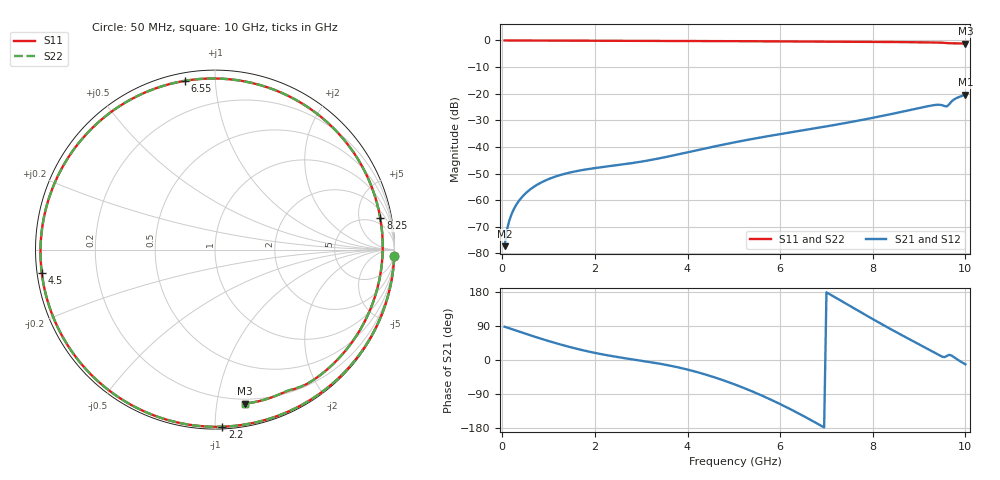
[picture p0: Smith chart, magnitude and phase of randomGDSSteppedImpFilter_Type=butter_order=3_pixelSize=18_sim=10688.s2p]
! freq	dB(S11)	phase(S11)	dB(S12)	phase(S12)
!  dB(S21)	phase(S21)	dB(S22)	phase(S22)
!S-par simulation data
#  GHz  S  DB  R 50
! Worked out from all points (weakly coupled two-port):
!   200 points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, 50 MHz to 10 GHz, reference 50 ohm
!   highest |S21| = -20.36 dB at 10 GHz (marker M1); lowest = -77.3 dB at 50 MHz (marker M2)
!   lowest |S11| = -1.2 dB at 10 GHz (marker M3), VSWR 14.91, Z = 8.21 - j59.8 ohm
!   |S11| at or under -10 dB: nowhere
!   |S22| runs from -1.2 to 0.0 dB; largest |S21 - S12| = 0
!   S11 on the Smith chart (normalised r, x): 50 MHz: 0, -55; 2.2 GHz: 0.01, -1.04; 4.5 GHz: 0.01, -0.07; 6.55 GHz: 0.04, +0.84; 8.25 GHz: 3, +10; 10 GHz: 0.16, -1.20
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0.05  -0.00 -2.1  -77.25 87.8  -77.25 87.8  -0.00 -2.1
0.1  -0.01 -4.2  -71.24 85.8  -71.24 85.8  -0.01 -4.2
0.2  -0.01 -8.3  -65.24 81.7  -65.24 81.7  -0.01 -8.3
0.5  -0.03 -20.6  -57.46 69.4  -57.46 69.4  -0.03 -20.6
1  -0.05 -40.9  -52.06 50.0  -52.06 50.0  -0.05 -40.9
1.75  -0.09 -70.4  -48.60 25.4  -48.60 25.4  -0.09 -70.4
2.2  -0.11 -87.6  -47.46 14.0  -47.46 14.0  -0.11 -87.6
2.8  -0.14 -109.9  -46.06 1.9  -46.06 1.9  -0.14 -109.9
3.4  -0.16 -131.8  -44.24 -9.8  -44.24 -9.8  -0.16 -131.8
4.5  -0.23 -172.4  -40.10 -42.5  -40.10 -42.5  -0.23 -172.3
5.05  -0.27 166.3  -38.14 -65.9  -38.14 -65.9  -0.27 166.3
5.75  -0.33 137.1  -35.91 -101.9  -35.91 -101.9  -0.33 137.2
6.55  -0.40 100.2  -33.58 -150.9  -33.58 -150.9  -0.40 100.3
6.7  -0.41 92.8  -33.15 -160.9  -33.15 -160.9  -0.41 92.9
7.4  -0.47 56.6  -31.04 150.3  -31.04 150.3  -0.47 56.8
7.85  -0.51 32.4  -29.57 118.4  -29.57 118.4  -0.51 32.6
8.25  -0.56 10.7  -28.18 90.7  -28.18 90.7  -0.56 11.0
8.35  -0.57 5.3  -27.82 84.0  -27.82 84.0  -0.57 5.6
8.8  -0.65 -18.7  -26.15 54.3  -26.15 54.3  -0.65 -18.4
9.3  -0.76 -44.7  -24.34 21.8  -24.34 21.8  -0.76 -44.4
9.6  -0.98 -60.4  -24.77 10.6  -24.77 10.6  -0.99 -60.2
10  -1.17 -79.1  -20.36 -11.4  -20.36 -11.4  -1.17 -78.9
